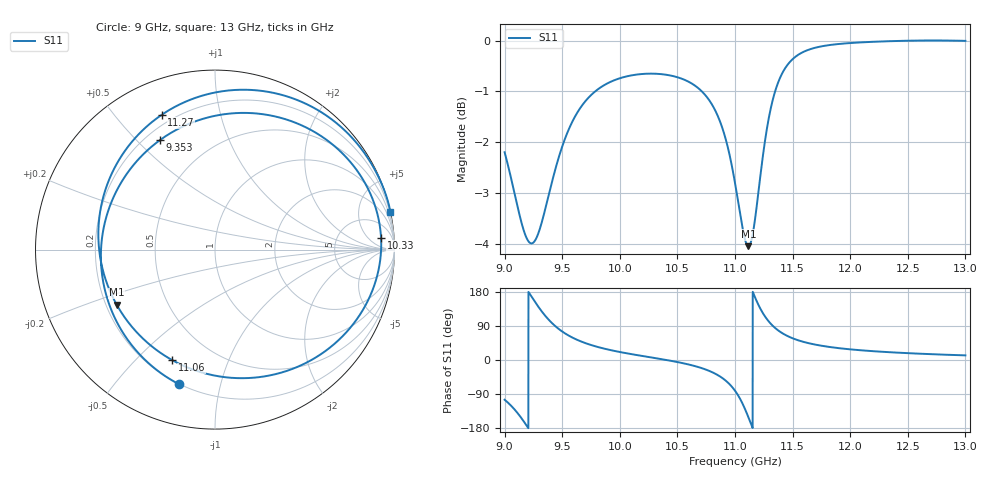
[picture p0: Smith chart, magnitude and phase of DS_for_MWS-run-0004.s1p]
! TOUCHSTONE file generated by CST DESIGN STUDIO
! Date and time: Tue Feb  4 18:21:09 2025
! Project name: C:\Work\MatlabApps\UnitCellOptimizationMatlab\CST\unitcell.cst
! Tree item: Tasks\Sweep1\SPara1\S-Parameters
! Header version: 2024
! Port assignment regex: !\s*Touchstone port\s*([0-9]+)\s*=\s*(CST MWS port|CST DES external port|CST DES block port)\s*(.+)\s* \(\"(.*)\"\)(\s*mode\s*([0-9]+))?.*
! Touchstone port assignment:
! Touchstone port 1 = CST DES external port 1 ("")
# GHz S MA R 50
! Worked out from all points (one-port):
!   4001 points, 9 GHz to 13 GHz, reference 50 ohm
!   lowest |S11| = -4.0 dB at 11.12 GHz (marker M1), VSWR 4.38, Z = 12.2 - j12.3 ohm
!   |S11| at or under -10 dB: nowhere
!   S11 on the Smith chart (normalised r, x): 9 GHz: 0.20, -0.75; 9.353 GHz: 0.26, +0.59; 10.33 GHz: 14, +13; 11.06 GHz: 0.29, -0.64; 11.27 GHz: 0.15, +0.67; 13 GHz: 0.03, +9.36
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9  0.7767 -104.9
9.09  0.7045 -131.8
9.191  0.6395 -173.1
9.264  0.636 153.3
9.353  0.6831 116.6
9.421  0.7334 94.6
9.5  0.7868 75.2
9.6  0.8375 57.4
9.71  0.8742 43.6
10  0.9182 21.1
10.326  0.9275 4.1
10.5  0.9204 -5.4
10.685  0.8972 -18.9
10.816  0.859 -34.2
10.915  0.8033 -53.3
11  0.7246 -81.0
11.059  0.6603 -111.1
11.116  0.6279 -150.8
11.15  0.642 -177.0
11.183  0.6795 158.9
11.227  0.7469 131.6
11.268  0.8074 111.6
11.354  0.8958 83.1
11.5  0.9588 57.3
11.695  0.9838 40.7
12  0.9944 28.1
12.5  0.9997 18.0
13  0.9993 12.2
